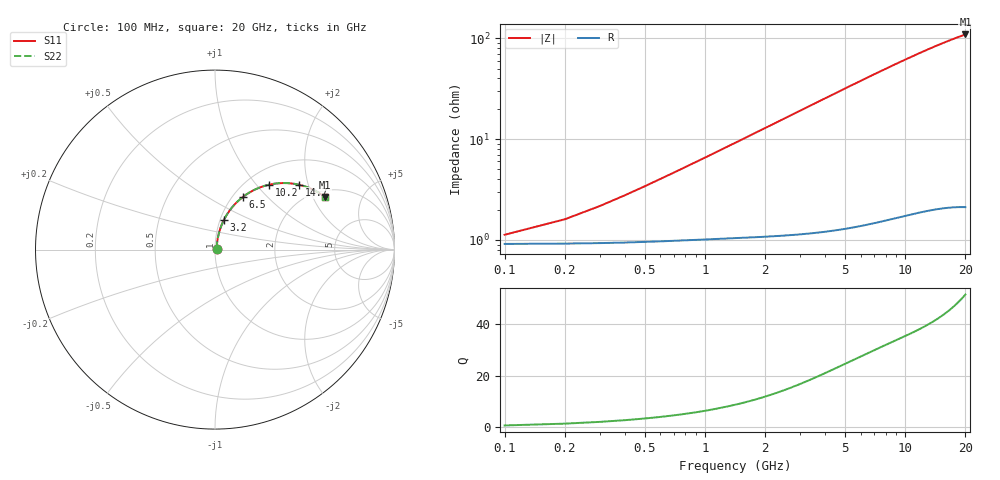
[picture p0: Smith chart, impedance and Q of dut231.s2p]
! Touchstone file exported from HFSS 2026.1.0
!  File:  C:/ffzhzh/LocalFiles/Ansys_Project_Files/temp_train_BSMRDL_231_1782988234_42984.aedt
!  Generated:  06:32:08 PM Jul  2, 2026
!  Design:  BSMRDL
!  Project:  temp_train_BSMRDL_231_1782988234_42984
! Variables:
!  h_bsmrdl = 3.18um
!  h_ox = 20um
!  h_rdl = 5um
!  h_sub = 80um
!  h_tmrdl = 5um
!  h_tsv = 80um
!  h_via = 3um
!  l_bsmrdl = 892.41um
!  l_sub = 1292.41um
!  l_tmrdl = 200um
!  m_sub = 200um
!  pitch = 58.09um
!  r_tsv = 6um
!  s_tmrdl = 10um
!  w_bsmrdl = 10.82um
!  w_sub = 500um
!  w_tmrdl = 12um
!  x_tsv_center1 = 206um
!  x_tsv_center2 = 1109.23um
!  x_tsv_center3 = 1321.23um
!  x_tsv_center4 = 2224.46um
!  x_tsv_center5 = 2436.46um
!  x_tsv_center6 = 3339.69um
# GHz S MA R 50.000000
! Terminal data exported
! Port[1] = BSM_RDL1_1_T1
! Port[2] = BSM_RDL1_1_T2
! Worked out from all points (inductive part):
!   200 points, 100 MHz to 20 GHz, reference 50 ohm
!   read as one part in series: L = 1.03 nH near 500 MHz
!   highest Q = 51.5 at 20 GHz (marker M1), where L = 867 pH
!   S11 on the Smith chart (normalised r, x): 100 MHz: 1.02, +0.01; 3.2 GHz: 1.04, +0.36; 6.5 GHz: 1.11, +0.73; 10.2 GHz: 1.26, +1.17; 14.7 GHz: 1.57, +1.74; 20 GHz: 2.28, +2.48
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0.1  0.0107 31.8  0.9909 -0.4  0.9909 -0.4  0.0107 31.8
! Gamma 0 0 0 0
! Port Impedance 50 0 50 0
0.3  0.01937 60.3  0.9906 -1.3  0.9906 -1.3  0.01937 60.3
0.4  0.0245 65.9  0.9904 -1.7  0.9904 -1.7  0.0245 65.9
0.5  0.02977 69.4  0.9901 -2.1  0.9901 -2.1  0.02977 69.4
0.6  0.0351 71.6  0.9898 -2.5  0.9898 -2.5  0.0351 71.6
0.8  0.04584 74.3  0.9892 -3.3  0.9892 -3.3  0.04584 74.3
1.1  0.062 76.1  0.988 -4.6  0.988 -4.6  0.062 76.1
1.5  0.08355 76.7  0.9862 -6.2  0.9862 -6.2  0.08354 76.7
2  0.1103 76.3  0.9834 -8.2  0.9834 -8.2  0.1103 76.3
2.6  0.1422 75.0  0.979 -10.6  0.979 -10.6  0.1422 75.0
3.2  0.1734 73.3  0.9737 -13.0  0.9737 -13.0  0.1734 73.3
3.5  0.1888 72.3  0.9707 -14.2  0.9707 -14.2  0.1888 72.4
4.9  0.258 67.7  0.954 -19.6  0.954 -19.6  0.258 67.7
6.5  0.3308 62.2  0.9305 -25.5  0.9305 -25.5  0.3308 62.2
6.8  0.3436 61.1  0.9257 -26.6  0.9257 -26.6  0.3436 61.2
8.3  0.4038 56.2  0.9006 -31.8  0.9006 -31.8  0.4038 56.2
10.1  0.4674 50.5  0.8689 -37.6  0.8689 -37.6  0.4674 50.6
10.2  0.4706 50.2  0.8671 -37.9  0.8671 -37.9  0.4706 50.2
13.4  0.561 41.1  0.8117 -47.2  0.8117 -47.2  0.5609 41.2
14.7  0.5906 37.7  0.7906 -50.7  0.7906 -50.7  0.5906 37.8
16.7  0.6296 32.9  0.7605 -55.6  0.7605 -55.6  0.6296 32.9
20  0.6789 25.6  0.7181 -63.1  0.7181 -63.1  0.6789 25.7
